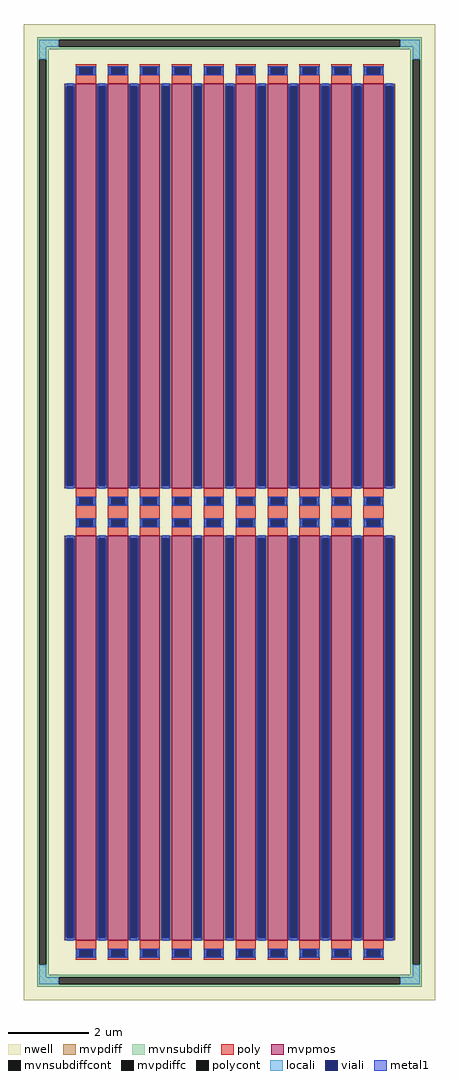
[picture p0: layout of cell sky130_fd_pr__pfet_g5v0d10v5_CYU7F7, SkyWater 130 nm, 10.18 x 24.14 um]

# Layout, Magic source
magic
tech sky130A
<< nwell >>
rect -509 -1207 509 1207
<< mvpmos >>
rect -380 59 -330 1059
rect -301 59 -251 1059
rect -222 59 -172 1059
rect -143 59 -93 1059
rect -64 59 -14 1059
rect 15 59 65 1059
rect 94 59 144 1059
rect 173 59 223 1059
rect 252 59 302 1059
rect 331 59 381 1059
rect -380 -1059 -330 -59
rect -301 -1059 -251 -59
rect -222 -1059 -172 -59
rect -143 -1059 -93 -59
rect -64 -1059 -14 -59
rect 15 -1059 65 -59
rect 94 -1059 144 -59
rect 173 -1059 223 -59
rect 252 -1059 302 -59
rect 331 -1059 381 -59
<< mvpdiff >>
rect -409 1053 -380 1059
rect -409 65 -403 1053
rect -386 65 -380 1053
rect -409 59 -380 65
rect -330 1053 -301 1059
rect -330 65 -324 1053
rect -307 65 -301 1053
rect -330 59 -301 65
rect -251 1053 -222 1059
rect -251 65 -245 1053
rect -228 65 -222 1053
rect -251 59 -222 65
rect -172 1053 -143 1059
rect -172 65 -166 1053
rect -149 65 -143 1053
rect -172 59 -143 65
rect -93 1053 -64 1059
rect -93 65 -87 1053
rect -70 65 -64 1053
rect -93 59 -64 65
rect -14 1053 15 1059
rect -14 65 -8 1053
rect 9 65 15 1053
rect -14 59 15 65
rect 65 1053 94 1059
rect 65 65 71 1053
rect 88 65 94 1053
rect 65 59 94 65
rect 144 1053 173 1059
rect 144 65 150 1053
rect 167 65 173 1053
rect 144 59 173 65
rect 223 1053 252 1059
rect 223 65 229 1053
rect 246 65 252 1053
rect 223 59 252 65
rect 302 1053 331 1059
rect 302 65 308 1053
rect 325 65 331 1053
rect 302 59 331 65
rect 381 1053 410 1059
rect 381 65 387 1053
rect 404 65 410 1053
rect 381 59 410 65
rect -409 -65 -380 -59
rect -409 -1053 -403 -65
rect -386 -1053 -380 -65
rect -409 -1059 -380 -1053
rect -330 -65 -301 -59
rect -330 -1053 -324 -65
rect -307 -1053 -301 -65
rect -330 -1059 -301 -1053
rect -251 -65 -222 -59
rect -251 -1053 -245 -65
rect -228 -1053 -222 -65
rect -251 -1059 -222 -1053
rect -172 -65 -143 -59
rect -172 -1053 -166 -65
rect -149 -1053 -143 -65
rect -172 -1059 -143 -1053
rect -93 -65 -64 -59
rect -93 -1053 -87 -65
rect -70 -1053 -64 -65
rect -93 -1059 -64 -1053
rect -14 -65 15 -59
rect -14 -1053 -8 -65
rect 9 -1053 15 -65
rect -14 -1059 15 -1053
rect 65 -65 94 -59
rect 65 -1053 71 -65
rect 88 -1053 94 -65
rect 65 -1059 94 -1053
rect 144 -65 173 -59
rect 144 -1053 150 -65
rect 167 -1053 173 -65
rect 144 -1059 173 -1053
rect 223 -65 252 -59
rect 223 -1053 229 -65
rect 246 -1053 252 -65
rect 223 -1059 252 -1053
rect 302 -65 331 -59
rect 302 -1053 308 -65
rect 325 -1053 331 -65
rect 302 -1059 331 -1053
rect 381 -65 410 -59
rect 381 -1053 387 -65
rect 404 -1053 410 -65
rect 381 -1059 410 -1053
<< mvpdiffc >>
rect -403 65 -386 1053
rect -324 65 -307 1053
rect -245 65 -228 1053
rect -166 65 -149 1053
rect -87 65 -70 1053
rect -8 65 9 1053
rect 71 65 88 1053
rect 150 65 167 1053
rect 229 65 246 1053
rect 308 65 325 1053
rect 387 65 404 1053
rect -403 -1053 -386 -65
rect -324 -1053 -307 -65
rect -245 -1053 -228 -65
rect -166 -1053 -149 -65
rect -87 -1053 -70 -65
rect -8 -1053 9 -65
rect 71 -1053 88 -65
rect 150 -1053 167 -65
rect 229 -1053 246 -65
rect 308 -1053 325 -65
rect 387 -1053 404 -65
<< mvnsubdiff >>
rect -476 1168 476 1174
rect -476 1151 -422 1168
rect 422 1151 476 1168
rect -476 1145 476 1151
rect -476 1120 -447 1145
rect -476 -1120 -470 1120
rect -453 -1120 -447 1120
rect 447 1120 476 1145
rect -476 -1145 -447 -1120
rect 447 -1120 453 1120
rect 470 -1120 476 1120
rect 447 -1145 476 -1120
rect -476 -1151 476 -1145
rect -476 -1168 -422 -1151
rect 422 -1168 476 -1151
rect -476 -1174 476 -1168
<< mvnsubdiffcont >>
rect -422 1151 422 1168
rect -470 -1120 -453 1120
rect 453 -1120 470 1120
rect -422 -1168 422 -1151
<< poly >>
rect -380 1100 -330 1108
rect -380 1083 -372 1100
rect -338 1083 -330 1100
rect -380 1059 -330 1083
rect -301 1100 -251 1108
rect -301 1083 -293 1100
rect -259 1083 -251 1100
rect -301 1059 -251 1083
rect -222 1100 -172 1108
rect -222 1083 -214 1100
rect -180 1083 -172 1100
rect -222 1059 -172 1083
rect -143 1100 -93 1108
rect -143 1083 -135 1100
rect -101 1083 -93 1100
rect -143 1059 -93 1083
rect -64 1100 -14 1108
rect -64 1083 -56 1100
rect -22 1083 -14 1100
rect -64 1059 -14 1083
rect 15 1100 65 1108
rect 15 1083 23 1100
rect 57 1083 65 1100
rect 15 1059 65 1083
rect 94 1100 144 1108
rect 94 1083 102 1100
rect 136 1083 144 1100
rect 94 1059 144 1083
rect 173 1100 223 1108
rect 173 1083 181 1100
rect 215 1083 223 1100
rect 173 1059 223 1083
rect 252 1100 302 1108
rect 252 1083 260 1100
rect 294 1083 302 1100
rect 252 1059 302 1083
rect 331 1100 381 1108
rect 331 1083 339 1100
rect 373 1083 381 1100
rect 331 1059 381 1083
rect -380 35 -330 59
rect -380 18 -372 35
rect -338 18 -330 35
rect -380 -18 -330 18
rect -380 -35 -372 -18
rect -338 -35 -330 -18
rect -380 -59 -330 -35
rect -301 35 -251 59
rect -301 18 -293 35
rect -259 18 -251 35
rect -301 -18 -251 18
rect -301 -35 -293 -18
rect -259 -35 -251 -18
rect -301 -59 -251 -35
rect -222 35 -172 59
rect -222 18 -214 35
rect -180 18 -172 35
rect -222 -18 -172 18
rect -222 -35 -214 -18
rect -180 -35 -172 -18
rect -222 -59 -172 -35
rect -143 35 -93 59
rect -143 18 -135 35
rect -101 18 -93 35
rect -143 -18 -93 18
rect -143 -35 -135 -18
rect -101 -35 -93 -18
rect -143 -59 -93 -35
rect -64 35 -14 59
rect -64 18 -56 35
rect -22 18 -14 35
rect -64 -18 -14 18
rect -64 -35 -56 -18
rect -22 -35 -14 -18
rect -64 -59 -14 -35
rect 15 35 65 59
rect 15 18 23 35
rect 57 18 65 35
rect 15 -18 65 18
rect 15 -35 23 -18
rect 57 -35 65 -18
rect 15 -59 65 -35
rect 94 35 144 59
rect 94 18 102 35
rect 136 18 144 35
rect 94 -18 144 18
rect 94 -35 102 -18
rect 136 -35 144 -18
rect 94 -59 144 -35
rect 173 35 223 59
rect 173 18 181 35
rect 215 18 223 35
rect 173 -18 223 18
rect 173 -35 181 -18
rect 215 -35 223 -18
rect 173 -59 223 -35
rect 252 35 302 59
rect 252 18 260 35
rect 294 18 302 35
rect 252 -18 302 18
rect 252 -35 260 -18
rect 294 -35 302 -18
rect 252 -59 302 -35
rect 331 35 381 59
rect 331 18 339 35
rect 373 18 381 35
rect 331 -18 381 18
rect 331 -35 339 -18
rect 373 -35 381 -18
rect 331 -59 381 -35
rect -380 -1083 -330 -1059
rect -380 -1100 -372 -1083
rect -338 -1100 -330 -1083
rect -380 -1108 -330 -1100
rect -301 -1083 -251 -1059
rect -301 -1100 -293 -1083
rect -259 -1100 -251 -1083
rect -301 -1108 -251 -1100
rect -222 -1083 -172 -1059
rect -222 -1100 -214 -1083
rect -180 -1100 -172 -1083
rect -222 -1108 -172 -1100
rect -143 -1083 -93 -1059
rect -143 -1100 -135 -1083
rect -101 -1100 -93 -1083
rect -143 -1108 -93 -1100
rect -64 -1083 -14 -1059
rect -64 -1100 -56 -1083
rect -22 -1100 -14 -1083
rect -64 -1108 -14 -1100
rect 15 -1083 65 -1059
rect 15 -1100 23 -1083
rect 57 -1100 65 -1083
rect 15 -1108 65 -1100
rect 94 -1083 144 -1059
rect 94 -1100 102 -1083
rect 136 -1100 144 -1083
rect 94 -1108 144 -1100
rect 173 -1083 223 -1059
rect 173 -1100 181 -1083
rect 215 -1100 223 -1083
rect 173 -1108 223 -1100
rect 252 -1083 302 -1059
rect 252 -1100 260 -1083
rect 294 -1100 302 -1083
rect 252 -1108 302 -1100
rect 331 -1083 381 -1059
rect 331 -1100 339 -1083
rect 373 -1100 381 -1083
rect 331 -1108 381 -1100
<< polycont >>
rect -372 1083 -338 1100
rect -293 1083 -259 1100
rect -214 1083 -180 1100
rect -135 1083 -101 1100
rect -56 1083 -22 1100
rect 23 1083 57 1100
rect 102 1083 136 1100
rect 181 1083 215 1100
rect 260 1083 294 1100
rect 339 1083 373 1100
rect -372 18 -338 35
rect -372 -35 -338 -18
rect -293 18 -259 35
rect -293 -35 -259 -18
rect -214 18 -180 35
rect -214 -35 -180 -18
rect -135 18 -101 35
rect -135 -35 -101 -18
rect -56 18 -22 35
rect -56 -35 -22 -18
rect 23 18 57 35
rect 23 -35 57 -18
rect 102 18 136 35
rect 102 -35 136 -18
rect 181 18 215 35
rect 181 -35 215 -18
rect 260 18 294 35
rect 260 -35 294 -18
rect 339 18 373 35
rect 339 -35 373 -18
rect -372 -1100 -338 -1083
rect -293 -1100 -259 -1083
rect -214 -1100 -180 -1083
rect -135 -1100 -101 -1083
rect -56 -1100 -22 -1083
rect 23 -1100 57 -1083
rect 102 -1100 136 -1083
rect 181 -1100 215 -1083
rect 260 -1100 294 -1083
rect 339 -1100 373 -1083
<< locali >>
rect -470 1151 -422 1168
rect 422 1151 470 1168
rect -470 1120 -453 1151
rect 453 1120 470 1151
rect -380 1083 -372 1100
rect -338 1083 -330 1100
rect -301 1083 -293 1100
rect -259 1083 -251 1100
rect -222 1083 -214 1100
rect -180 1083 -172 1100
rect -143 1083 -135 1100
rect -101 1083 -93 1100
rect -64 1083 -56 1100
rect -22 1083 -14 1100
rect 15 1083 23 1100
rect 57 1083 65 1100
rect 94 1083 102 1100
rect 136 1083 144 1100
rect 173 1083 181 1100
rect 215 1083 223 1100
rect 252 1083 260 1100
rect 294 1083 302 1100
rect 331 1083 339 1100
rect 373 1083 381 1100
rect -403 1053 -386 1061
rect -403 57 -386 65
rect -324 1053 -307 1061
rect -324 57 -307 65
rect -245 1053 -228 1061
rect -245 57 -228 65
rect -166 1053 -149 1061
rect -166 57 -149 65
rect -87 1053 -70 1061
rect -87 57 -70 65
rect -8 1053 9 1061
rect -8 57 9 65
rect 71 1053 88 1061
rect 71 57 88 65
rect 150 1053 167 1061
rect 150 57 167 65
rect 229 1053 246 1061
rect 229 57 246 65
rect 308 1053 325 1061
rect 308 57 325 65
rect 387 1053 404 1061
rect 387 57 404 65
rect -380 18 -372 35
rect -338 18 -330 35
rect -301 18 -293 35
rect -259 18 -251 35
rect -222 18 -214 35
rect -180 18 -172 35
rect -143 18 -135 35
rect -101 18 -93 35
rect -64 18 -56 35
rect -22 18 -14 35
rect 15 18 23 35
rect 57 18 65 35
rect 94 18 102 35
rect 136 18 144 35
rect 173 18 181 35
rect 215 18 223 35
rect 252 18 260 35
rect 294 18 302 35
rect 331 18 339 35
rect 373 18 381 35
rect -380 -35 -372 -18
rect -338 -35 -330 -18
rect -301 -35 -293 -18
rect -259 -35 -251 -18
rect -222 -35 -214 -18
rect -180 -35 -172 -18
rect -143 -35 -135 -18
rect -101 -35 -93 -18
rect -64 -35 -56 -18
rect -22 -35 -14 -18
rect 15 -35 23 -18
rect 57 -35 65 -18
rect 94 -35 102 -18
rect 136 -35 144 -18
rect 173 -35 181 -18
rect 215 -35 223 -18
rect 252 -35 260 -18
rect 294 -35 302 -18
rect 331 -35 339 -18
rect 373 -35 381 -18
rect -403 -65 -386 -57
rect -403 -1061 -386 -1053
rect -324 -65 -307 -57
rect -324 -1061 -307 -1053
rect -245 -65 -228 -57
rect -245 -1061 -228 -1053
rect -166 -65 -149 -57
rect -166 -1061 -149 -1053
rect -87 -65 -70 -57
rect -87 -1061 -70 -1053
rect -8 -65 9 -57
rect -8 -1061 9 -1053
rect 71 -65 88 -57
rect 71 -1061 88 -1053
rect 150 -65 167 -57
rect 150 -1061 167 -1053
rect 229 -65 246 -57
rect 229 -1061 246 -1053
rect 308 -65 325 -57
rect 308 -1061 325 -1053
rect 387 -65 404 -57
rect 387 -1061 404 -1053
rect -380 -1100 -372 -1083
rect -338 -1100 -330 -1083
rect -301 -1100 -293 -1083
rect -259 -1100 -251 -1083
rect -222 -1100 -214 -1083
rect -180 -1100 -172 -1083
rect -143 -1100 -135 -1083
rect -101 -1100 -93 -1083
rect -64 -1100 -56 -1083
rect -22 -1100 -14 -1083
rect 15 -1100 23 -1083
rect 57 -1100 65 -1083
rect 94 -1100 102 -1083
rect 136 -1100 144 -1083
rect 173 -1100 181 -1083
rect 215 -1100 223 -1083
rect 252 -1100 260 -1083
rect 294 -1100 302 -1083
rect 331 -1100 339 -1083
rect 373 -1100 381 -1083
rect -470 -1151 -453 -1120
rect 453 -1151 470 -1120
rect -470 -1168 -422 -1151
rect 422 -1168 470 -1151
<< viali >>
rect -372 1083 -338 1100
rect -293 1083 -259 1100
rect -214 1083 -180 1100
rect -135 1083 -101 1100
rect -56 1083 -22 1100
rect 23 1083 57 1100
rect 102 1083 136 1100
rect 181 1083 215 1100
rect 260 1083 294 1100
rect 339 1083 373 1100
rect -403 65 -386 1053
rect -324 65 -307 1053
rect -245 65 -228 1053
rect -166 65 -149 1053
rect -87 65 -70 1053
rect -8 65 9 1053
rect 71 65 88 1053
rect 150 65 167 1053
rect 229 65 246 1053
rect 308 65 325 1053
rect 387 65 404 1053
rect -372 18 -338 35
rect -293 18 -259 35
rect -214 18 -180 35
rect -135 18 -101 35
rect -56 18 -22 35
rect 23 18 57 35
rect 102 18 136 35
rect 181 18 215 35
rect 260 18 294 35
rect 339 18 373 35
rect -372 -35 -338 -18
rect -293 -35 -259 -18
rect -214 -35 -180 -18
rect -135 -35 -101 -18
rect -56 -35 -22 -18
rect 23 -35 57 -18
rect 102 -35 136 -18
rect 181 -35 215 -18
rect 260 -35 294 -18
rect 339 -35 373 -18
rect -403 -1053 -386 -65
rect -324 -1053 -307 -65
rect -245 -1053 -228 -65
rect -166 -1053 -149 -65
rect -87 -1053 -70 -65
rect -8 -1053 9 -65
rect 71 -1053 88 -65
rect 150 -1053 167 -65
rect 229 -1053 246 -65
rect 308 -1053 325 -65
rect 387 -1053 404 -65
rect -372 -1100 -338 -1083
rect -293 -1100 -259 -1083
rect -214 -1100 -180 -1083
rect -135 -1100 -101 -1083
rect -56 -1100 -22 -1083
rect 23 -1100 57 -1083
rect 102 -1100 136 -1083
rect 181 -1100 215 -1083
rect 260 -1100 294 -1083
rect 339 -1100 373 -1083
<< metal1 >>
rect -378 1100 -332 1103
rect -378 1083 -372 1100
rect -338 1083 -332 1100
rect -378 1080 -332 1083
rect -299 1100 -253 1103
rect -299 1083 -293 1100
rect -259 1083 -253 1100
rect -299 1080 -253 1083
rect -220 1100 -174 1103
rect -220 1083 -214 1100
rect -180 1083 -174 1100
rect -220 1080 -174 1083
rect -141 1100 -95 1103
rect -141 1083 -135 1100
rect -101 1083 -95 1100
rect -141 1080 -95 1083
rect -62 1100 -16 1103
rect -62 1083 -56 1100
rect -22 1083 -16 1100
rect -62 1080 -16 1083
rect 17 1100 63 1103
rect 17 1083 23 1100
rect 57 1083 63 1100
rect 17 1080 63 1083
rect 96 1100 142 1103
rect 96 1083 102 1100
rect 136 1083 142 1100
rect 96 1080 142 1083
rect 175 1100 221 1103
rect 175 1083 181 1100
rect 215 1083 221 1100
rect 175 1080 221 1083
rect 254 1100 300 1103
rect 254 1083 260 1100
rect 294 1083 300 1100
rect 254 1080 300 1083
rect 333 1100 379 1103
rect 333 1083 339 1100
rect 373 1083 379 1100
rect 333 1080 379 1083
rect -406 1053 -383 1059
rect -406 65 -403 1053
rect -386 65 -383 1053
rect -406 59 -383 65
rect -327 1053 -304 1059
rect -327 65 -324 1053
rect -307 65 -304 1053
rect -327 59 -304 65
rect -248 1053 -225 1059
rect -248 65 -245 1053
rect -228 65 -225 1053
rect -248 59 -225 65
rect -169 1053 -146 1059
rect -169 65 -166 1053
rect -149 65 -146 1053
rect -169 59 -146 65
rect -90 1053 -67 1059
rect -90 65 -87 1053
rect -70 65 -67 1053
rect -90 59 -67 65
rect -11 1053 13 1059
rect -11 65 -8 1053
rect 9 65 13 1053
rect -11 59 13 65
rect 68 1053 91 1059
rect 68 65 71 1053
rect 88 65 91 1053
rect 68 59 91 65
rect 147 1053 170 1059
rect 147 65 150 1053
rect 167 65 170 1053
rect 147 59 170 65
rect 226 1053 249 1059
rect 226 65 229 1053
rect 246 65 249 1053
rect 226 59 249 65
rect 305 1053 328 1059
rect 305 65 308 1053
rect 325 65 328 1053
rect 305 59 328 65
rect 384 1053 407 1059
rect 384 65 387 1053
rect 404 65 407 1053
rect 384 59 407 65
rect -378 35 -332 38
rect -378 18 -372 35
rect -338 18 -332 35
rect -378 15 -332 18
rect -299 35 -253 38
rect -299 18 -293 35
rect -259 18 -253 35
rect -299 15 -253 18
rect -220 35 -174 38
rect -220 18 -214 35
rect -180 18 -174 35
rect -220 15 -174 18
rect -141 35 -95 38
rect -141 18 -135 35
rect -101 18 -95 35
rect -141 15 -95 18
rect -62 35 -16 38
rect -62 18 -56 35
rect -22 18 -16 35
rect -62 15 -16 18
rect 17 35 63 38
rect 17 18 23 35
rect 57 18 63 35
rect 17 15 63 18
rect 96 35 142 38
rect 96 18 102 35
rect 136 18 142 35
rect 96 15 142 18
rect 175 35 221 38
rect 175 18 181 35
rect 215 18 221 35
rect 175 15 221 18
rect 254 35 300 38
rect 254 18 260 35
rect 294 18 300 35
rect 254 15 300 18
rect 333 35 379 38
rect 333 18 339 35
rect 373 18 379 35
rect 333 15 379 18
rect -378 -18 -332 -15
rect -378 -35 -372 -18
rect -338 -35 -332 -18
rect -378 -38 -332 -35
rect -299 -18 -253 -15
rect -299 -35 -293 -18
rect -259 -35 -253 -18
rect -299 -38 -253 -35
rect -220 -18 -174 -15
rect -220 -35 -214 -18
rect -180 -35 -174 -18
rect -220 -38 -174 -35
rect -141 -18 -95 -15
rect -141 -35 -135 -18
rect -101 -35 -95 -18
rect -141 -38 -95 -35
rect -62 -18 -16 -15
rect -62 -35 -56 -18
rect -22 -35 -16 -18
rect -62 -38 -16 -35
rect 17 -18 63 -15
rect 17 -35 23 -18
rect 57 -35 63 -18
rect 17 -38 63 -35
rect 96 -18 142 -15
rect 96 -35 102 -18
rect 136 -35 142 -18
rect 96 -38 142 -35
rect 175 -18 221 -15
rect 175 -35 181 -18
rect 215 -35 221 -18
rect 175 -38 221 -35
rect 254 -18 300 -15
rect 254 -35 260 -18
rect 294 -35 300 -18
rect 254 -38 300 -35
rect 333 -18 379 -15
rect 333 -35 339 -18
rect 373 -35 379 -18
rect 333 -38 379 -35
rect -406 -65 -383 -59
rect -406 -1053 -403 -65
rect -386 -1053 -383 -65
rect -406 -1059 -383 -1053
rect -327 -65 -304 -59
rect -327 -1053 -324 -65
rect -307 -1053 -304 -65
rect -327 -1059 -304 -1053
rect -248 -65 -225 -59
rect -248 -1053 -245 -65
rect -228 -1053 -225 -65
rect -248 -1059 -225 -1053
rect -169 -65 -146 -59
rect -169 -1053 -166 -65
rect -149 -1053 -146 -65
rect -169 -1059 -146 -1053
rect -90 -65 -67 -59
rect -90 -1053 -87 -65
rect -70 -1053 -67 -65
rect -90 -1059 -67 -1053
rect -11 -65 12 -59
rect -11 -1053 -8 -65
rect 9 -1053 12 -65
rect -11 -1059 12 -1053
rect 68 -65 91 -59
rect 68 -1053 71 -65
rect 88 -1053 91 -65
rect 68 -1059 91 -1053
rect 147 -65 170 -59
rect 147 -1053 150 -65
rect 167 -1053 170 -65
rect 147 -1059 170 -1053
rect 226 -65 249 -59
rect 226 -1053 229 -65
rect 246 -1053 249 -65
rect 226 -1059 249 -1053
rect 305 -65 328 -59
rect 305 -1053 308 -65
rect 325 -1053 328 -65
rect 305 -1059 328 -1053
rect 384 -65 407 -59
rect 384 -1053 387 -65
rect 404 -1053 407 -65
rect 384 -1059 407 -1053
rect -378 -1083 -332 -1080
rect -378 -1100 -372 -1083
rect -338 -1100 -332 -1083
rect -378 -1103 -332 -1100
rect -299 -1083 -253 -1080
rect -299 -1100 -293 -1083
rect -259 -1100 -253 -1083
rect -299 -1103 -253 -1100
rect -220 -1083 -174 -1080
rect -220 -1100 -214 -1083
rect -180 -1100 -174 -1083
rect -220 -1103 -174 -1100
rect -141 -1083 -95 -1080
rect -141 -1100 -135 -1083
rect -101 -1100 -95 -1083
rect -141 -1103 -95 -1100
rect -62 -1083 -16 -1080
rect -62 -1100 -56 -1083
rect -22 -1100 -16 -1083
rect -62 -1103 -16 -1100
rect 17 -1083 63 -1080
rect 17 -1100 23 -1083
rect 57 -1100 63 -1083
rect 17 -1103 63 -1100
rect 96 -1083 142 -1080
rect 96 -1100 102 -1083
rect 136 -1100 142 -1083
rect 96 -1103 142 -1100
rect 175 -1083 221 -1080
rect 175 -1100 181 -1083
rect 215 -1100 221 -1083
rect 175 -1103 221 -1100
rect 254 -1083 300 -1080
rect 254 -1100 260 -1083
rect 294 -1100 300 -1083
rect 254 -1103 300 -1100
rect 333 -1083 379 -1080
rect 333 -1100 339 -1083
rect 373 -1100 379 -1083
rect 333 -1103 379 -1100
<< properties >>
string FIXED_BBOX -462 -1160 462 1160
string gencell sky130_fd_pr__pfet_g5v0d10v5
string library sky130
string parameters w 10 l 0.5 m 2 nf 10 diffcov 100 polycov 100 guard 1 glc 1 grc 1 gtc 1 gbc 1 tbcov 100 rlcov 100 topc 1 botc 1 poverlap 0 doverlap 1 lmin 0.50 wmin 0.42 compatible {sky130_fd_pr__pfet_01v8  sky130_fd_pr__pfet_01v8_lvt sky130_fd_pr__pfet_01v8_hvt  sky130_fd_pr__pfet_g5v0d10v5} full_metal 1 viasrc 100 viadrn 100 viagate 100 viagb 0 viagr 0 viagl 0 viagt 0
<< end >>
